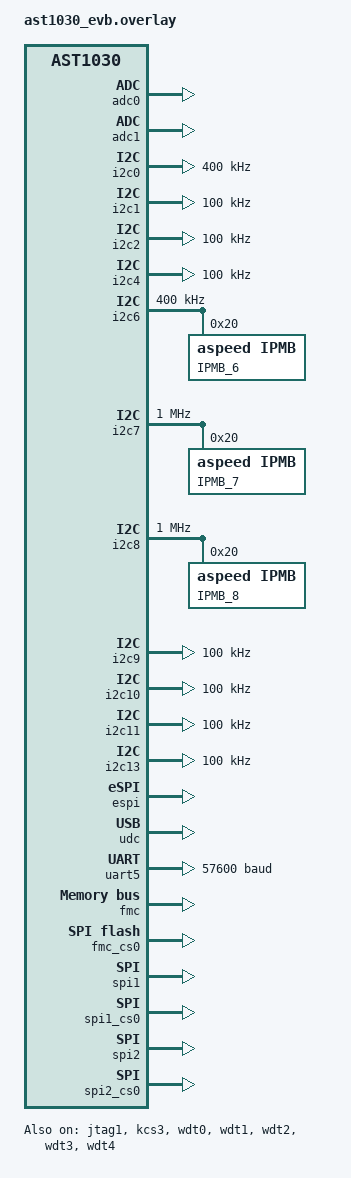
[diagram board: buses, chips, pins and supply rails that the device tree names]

&adc0 {
	status = "okay";
	pinctrl-0 = <&pinctrl_adc0_default &pinctrl_adc1_default
		&pinctrl_adc2_default &pinctrl_adc3_default
		&pinctrl_adc4_default &pinctrl_adc5_default
		&pinctrl_adc6_default>;
};

&adc1 {
	status = "okay";
	pinctrl-0 = <&pinctrl_adc8_default &pinctrl_adc9_default
		&pinctrl_adc10_default &pinctrl_adc11_default
		&pinctrl_adc12_default &pinctrl_adc13_default
		&pinctrl_adc14_default>;
};

&jtag1{
	status = "okay";
};

&i2c0 {
	pinctrl-0 = <&pinctrl_i2c0_default>;
	status = "okay";
	clock-frequency = <I2C_BITRATE_FAST>;
};

&i2c1 {
	pinctrl-0 = <&pinctrl_i2c1_default>;
	status = "okay";
	clock-frequency = <I2C_BITRATE_STANDARD>;
};

&i2c2 {
	pinctrl-0 = <&pinctrl_i2c2_default>;
	status = "okay";
	clock-frequency = <I2C_BITRATE_STANDARD>;
};

&i2c4 {
	pinctrl-0 = <&pinctrl_i2c4_default>;
	status = "okay";
	clock-frequency = <I2C_BITRATE_STANDARD>;
};

&i2c6 {
	pinctrl-0 = <&pinctrl_i2c6_default>;
	clock-frequency = <I2C_BITRATE_FAST>;
	status = "okay";

	ipmb6: ipmb@20 {
		compatible = "aspeed,ipmb";
		reg = <0x20>;
		label = "IPMB_6";
		size = <10>;
		status = "okay";
	};
};

&i2c7 {
	pinctrl-0 = <&pinctrl_i2c7_default>;
	clock-frequency = <I2C_BITRATE_FAST_PLUS>;
	status = "okay";

	ipmb7: ipmb@20 {
		compatible = "aspeed,ipmb";
		reg = <0x20>;
		label = "IPMB_7";
		size = <10>;
#ifdef CONFIG_I2C_IPMB_SLAVE
		status = "okay";
#endif
	};
};

&i2c8 {
	pinctrl-0 = <&pinctrl_i2c8_default>;
	clock-frequency = <I2C_BITRATE_FAST_PLUS>;
	status = "okay";

	ipmb8: ipmb@20 {
		compatible = "aspeed,ipmb";
		reg = <0x20>;
		label = "IPMB_8";
		size = <10>;
#ifdef CONFIG_I2C_IPMB_SLAVE
		status = "okay";
#endif
	};
};

&i2c9 {
	pinctrl-0 = <&pinctrl_i2c9_default>;
	status = "okay";
	clock-frequency = <I2C_BITRATE_STANDARD>;
};

&i2c10 {
	pinctrl-0 = <&pinctrl_i2c10_default>;
	status = "okay";
	clock-frequency = <I2C_BITRATE_STANDARD>;
};

&i2c11 {
	pinctrl-0 = <&pinctrl_i2c11_default>;
	status = "okay";
	clock-frequency = <I2C_BITRATE_STANDARD>;
};

&i2c13 {
	pinctrl-0 = <&pinctrl_i2c13_default>;
	status = "okay";
	clock-frequency = <I2C_BITRATE_STANDARD>;
};

&espi {
	status = "okay";

	perif,dma-mode;
	perif,memcyc-src-addr = <0x98000000>;
	perif,memcyc-size = <0x10000>;

	oob,dma-mode;

	flash,dma-mode;
	flash,safs-mode = <0x2>;
};

&udc {
	status = "okay";
};

&kcs3 {
  status = "okay";
  addr = <0xca2>;
};

&uart5 {
  current-speed = <57600>;
};

&gpio0_a_d {
  aspeed,persist-maps = <0x08000000>;
};

&fmc {
	status = "okay";
};

&fmc_cs0 {
	status = "okay";
	spi-max-buswidth = <4>;
	spi-max-frequency = <50000000>;

	partitions {
		compatible = "fixed-partitions";
		#address-cells = <1>;
		#size-cells = <1>;
		boot_partition: partition@0 {
			label = "image-0";
			reg = <0x0 0x100000>;
		};
		dfu_partition: partition@1 {
		       label = "image-1";
		       reg = <0x0 0x100000>;
	       };
	};
};

&spi1 {
	status = "okay";
};

&spi1_cs0 {
	status = "okay";
	spi-max-buswidth = <4>;
	spi-max-frequency = <50000000>;
	re-init-support;
};

&spi2 {
	status = "okay";
};

&spi2_cs0 {
	status = "okay";
	spi-max-buswidth = <4>;
	spi-max-frequency = <50000000>;
	re-init-support;
};

&wdt0 {
  status = "okay";
};

&wdt1 {
	status = "okay";
};

&wdt2 {
	status = "okay";
};

&wdt3 {
	status = "okay";
};

&wdt4 {
	status = "okay";
};

&peci {
	status = "disabled";
};
